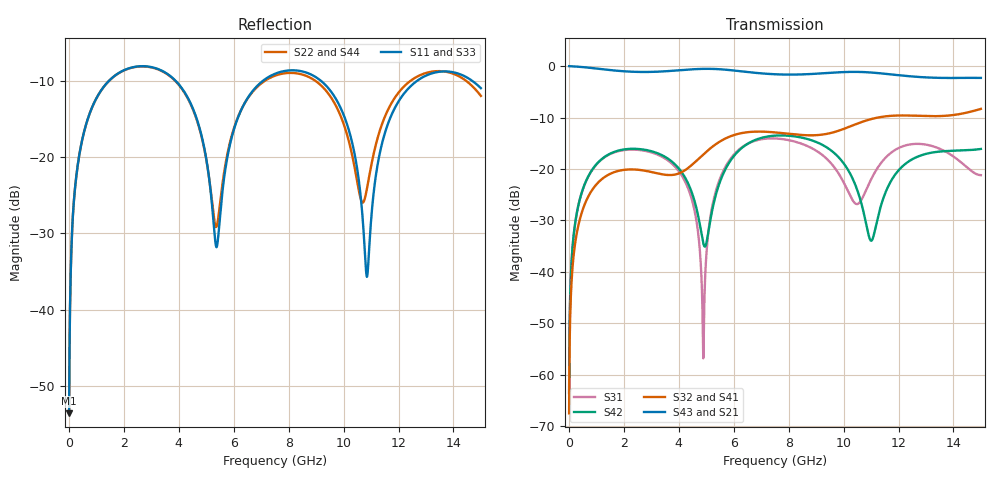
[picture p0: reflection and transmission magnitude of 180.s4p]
! Created with skrf 1.8.0 (http://scikit-rf.org).
# GHz S RI R 50.0
!freq ReS11 ImS11 ReS12 ImS12 ReS13 ImS13
! ReS14 ImS14
! ReS21 ImS21 ReS22 ImS22 ReS23 ImS23
! ReS24 ImS24
! ReS31 ImS31 ReS32 ImS32 ReS33 ImS33
! ReS34 ImS34
! ReS41 ImS41 ReS42 ImS42 ReS43 ImS43
! ReS44 ImS44
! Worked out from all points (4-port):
!   2499 points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, 5 MHz to 15 GHz, reference 50 ohm
!   strongest paths, dB at 5 MHz, 3.476 GHz, 7.19 GHz, 11.1 GHz, 15 GHz:
!     S43: 0.0, -1.0, -1.5, -1.3, -2.3
!     S21: 0.0, -1.0, -1.5, -1.3, -2.3
!     S32: -67.5, -21.1, -12.8, -10.2, -8.3
!     S41: -67.5, -21.2, -12.8, -10.2, -8.3
!     S42: -63.5, -17.6, -13.7, -32.9, -16.1
!     S31: -63.5, -17.9, -14.1, -21.0, -21.2
!   lowest |S11| = -53.6 dB at 5 MHz (marker M1), VSWR 1.00, Z = 50.2 + j0.127 ohm
!   |S11| at or under -10 dB: start of sweep to 1.456 GHz; 3.883 GHz to 7.064 GHz (3.18 GHz wide, 58.1 % of centre); 9.175 GHz to 12.68 GHz (3.502 GHz wide, 32.1 % of centre)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
0.005  0.00167 0.00127  0.9983 -0.00325  8.39e-05 0.000661  -8.16e-05 -0.000415
       0.9983 -0.00325  0.00167 0.00127  -8.16e-05 -0.000415  8.4e-05 0.00066
       8.39e-05 0.000661  -8.16e-05 -0.000415  0.00167 0.00127  0.9983 -0.00325
       -8.16e-05 -0.000415  8.4e-05 0.00066  0.9983 -0.00325  0.00167 0.00127
1.519383  0.2707 0.1785  0.5504 -0.7291  0.125 0.0641  -0.0898 -0.00654
          0.5504 -0.7291  0.2692 0.1795  -0.09 -0.00631  0.1293 0.0584
          0.125 0.0641  -0.09 -0.00631  0.2706 0.1786  0.5504 -0.7291
          -0.0898 -0.00654  0.1293 0.0584  0.5504 -0.7291  0.2693 0.1795
4.89579  0.0546 -0.1094  -0.8793 -0.3322  0.00129 0.000772  -0.0464 0.1308
         -0.8793 -0.3322  0.0623 -0.1032  -0.0431 0.132  -0.0168 -0.00831
         0.00129 0.000772  -0.0431 0.132  0.0553 -0.1087  -0.8793 -0.3323
         -0.0464 0.1308  -0.0168 -0.00831  -0.8793 -0.3323  0.0612 -0.1032
5.714881  0.0478 0.0739  -0.9117 0.1387  0.0455 0.0969  0.0416 0.1944
          -0.9117 0.1387  0.0571 0.0739  0.0461 0.1936  0.037 0.0947
          0.0455 0.0969  0.0461 0.1936  0.0484 0.0735  -0.9118 0.1386
          0.0416 0.1944  0.037 0.0947  -0.9118 0.1386  0.0565 0.0747
8.347228  0.3647 -0.0525  0.00727 0.828  0.1712 -0.0574  0.1989 -0.0736
          0.00727 0.828  0.3503 -0.04  0.1991 -0.0823  0.1692 -0.1156
          0.1712 -0.0574  0.1991 -0.0823  0.3622 -0.0496  0.00682 0.8284
          0.1989 -0.0736  0.1692 -0.1156  0.00682 0.8284  0.3508 -0.0429
10.84827  0.0164 -0.00061  0.8663 0.095  0.0615 0.0205  0.0323 -0.2953
          0.8663 0.095  0.0523 0.0328  0.0156 -0.2968  -0.027 -0.00202
          0.0615 0.0205  0.0156 -0.2968  0.0221 0.00249  0.8665 0.0951
          0.0323 -0.2953  -0.027 -0.00202  0.8665 0.0951  0.0443 0.0349
15  0.2616 -0.108  -0.4642 -0.6113  -0.083 -0.0267  -0.3231 0.2101
    -0.4642 -0.6113  0.2306 -0.1014  -0.306 0.2318  -0.1384 -0.0733
    -0.083 -0.0267  -0.306 0.2318  0.2641 -0.1073  -0.4628 -0.6128
    -0.3231 0.2101  -0.1384 -0.0733  -0.4628 -0.6128  0.2258 -0.1013
